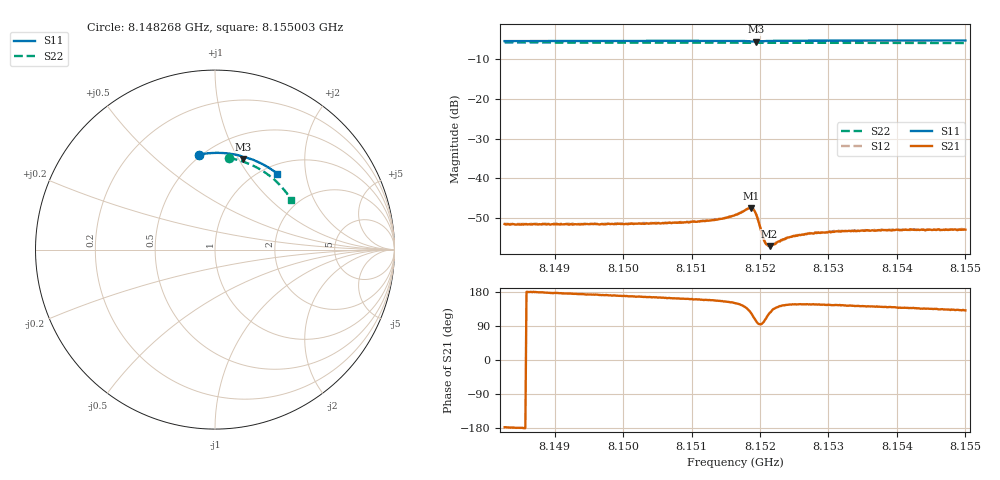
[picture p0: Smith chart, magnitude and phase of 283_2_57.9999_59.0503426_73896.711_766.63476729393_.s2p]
#  HZ  S  RI  R  50.00
! Rohde & Schwarz Vector Network Analyzer
! Rohde-Schwarz,ZNB20-2Port,1311601062101988,3.16
! Created: UTC 3/21/2024, 1:02:58 AM
! freq[Hz]  re:S11  im:S11  re:S21  im:S21  re:S12  im:S12  re:S22  im:S22
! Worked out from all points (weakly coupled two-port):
!   401 points, 8.148268 GHz to 8.155003 GHz, reference 50 ohm
!   highest |S21| = -47.51 dB at 8.151871 GHz (marker M1); lowest = -57.0 dB at 8.152141 GHz (marker M2)
!   lowest |S11| = -5.5 dB at 8.151939 GHz (marker M3), VSWR 3.25, Z = 37.2 + j52.3 ohm
!   |S11| at or under -10 dB: nowhere
!   |S22| runs from -5.9 to -5.7 dB; largest |S21 - S12| = 0.00012
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8.148268e9  -0.091 0.5289  -0.00265 -0.000119  -0.00267 -5.91e-05  0.0764 0.5102
8.1493961e9  -0.0129 0.5383  -0.00263 0.000287  -0.00264 0.000329  0.1481 0.4932
8.1505242e9  0.0656 0.5364  -0.00263 0.000702  -0.00265 0.000761  0.2159 0.4661
8.1512314e9  0.1153 0.5288  -0.00273 0.00108  -0.00272 0.00115  0.2562 0.4444
8.1515007e9  0.1346 0.5244  -0.00285 0.00139  -0.00287 0.0014  0.2707 0.4351
8.1516354e9  0.1445 0.521  -0.00298 0.00172  -0.00296 0.00176  0.278 0.4301
8.1518207e9  0.1578 0.5121  -0.00287 0.00296  -0.00281 0.00302  0.2877 0.4232
8.1518712e9  0.1591 0.5081  -0.00232 0.00351  -0.0023 0.00361  0.2902 0.4212
8.1519048e9  0.1584 0.5058  -0.00163 0.00371  -0.00162 0.00377  0.2919 0.4199
8.1519385e9  0.1569 0.5055  -0.000885 0.0035  -0.000833 0.00355  0.2936 0.4187
8.1519722e9  0.1561 0.5068  -0.000319 0.00297  -0.000276 0.00301  0.295 0.4178
8.1520564e9  0.1603 0.5117  -0.00031 0.00165  -0.000305 0.00171  0.2994 0.4147
8.1520901e9  0.1632 0.5123  -0.000501 0.00139  -0.000464 0.00142  0.3012 0.4134
8.1521069e9  0.1645 0.5126  -0.000626 0.00131  -0.000565 0.00129  0.3023 0.4128
8.1521406e9  0.1676 0.5128  -0.000787 0.00117  -0.000774 0.00119  0.304 0.4116
8.1521911e9  0.1717 0.5125  -0.00103 0.00106  -0.000971 0.00108  0.3066 0.4095
8.1522753e9  0.1785 0.5114  -0.00125 0.00101  -0.00124 0.00103  0.3108 0.4062
8.1524436e9  0.1908 0.508  -0.00152 0.00101  -0.00154 0.00107  0.3192 0.3993
8.1527635e9  0.2126 0.5003  -0.0017 0.00111  -0.00169 0.00112  0.3347 0.3861
8.1532687e9  0.2452 0.4863  -0.00173 0.0013  -0.00173 0.00131  0.358 0.3637
8.1538916e9  0.2835 0.4659  -0.0017 0.00143  -0.0017 0.00149  0.3844 0.3342
8.1550029e9  0.3468 0.4229  -0.00148 0.0017  -0.0015 0.00173  0.4256 0.2771
